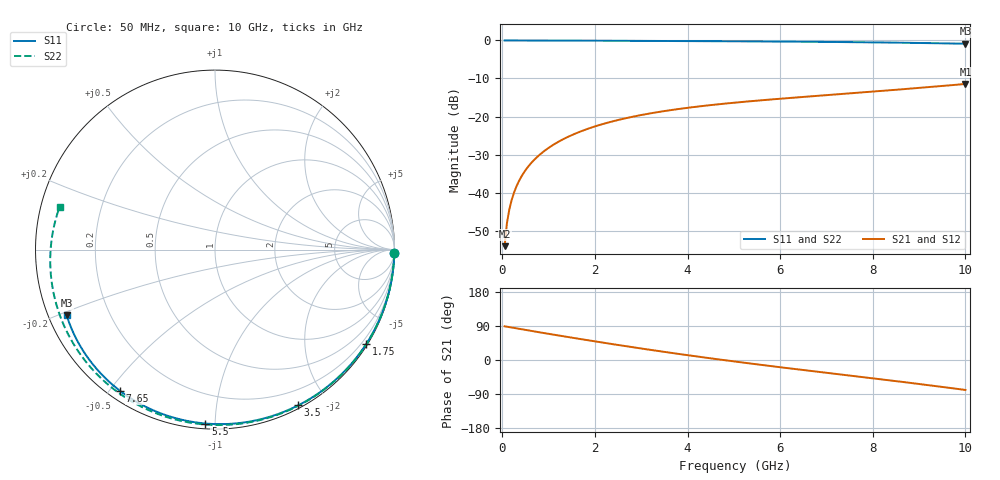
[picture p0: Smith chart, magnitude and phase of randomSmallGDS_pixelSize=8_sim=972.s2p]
! freq	dB(S11)	phase(S11)	dB(S12)	phase(S12)
!  dB(S21)	phase(S21)	dB(S22)	phase(S22)
!S-par simulation data
#  GHz  S  DB  R 50
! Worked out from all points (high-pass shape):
!   200 points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, 50 MHz to 10 GHz, reference 50 ohm
!   highest |S21| = -11.45 dB at 10 GHz (marker M1); lowest = -54.1 dB at 50 MHz (marker M2)
!   |S21| within 3 dB of the highest: 6.938 GHz to end of sweep
!   lowest |S11| = -0.9 dB at 10 GHz (marker M3), VSWR 19.88, Z = 2.63 - j10.6 ohm
!   |S11| at or under -10 dB: nowhere
!   |S22| runs from -0.9 to 0.0 dB; largest |S21 - S12| = 0
!   S11 on the Smith chart (normalised r, x): 50 MHz: open; 1.75 GHz: 0.04, -3.50; 3.5 GHz: 0.03, -1.67; 5.5 GHz: 0.03, -0.95; 7.65 GHz: 0.03, -0.53; 10 GHz: 0.05, -0.21
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0.05  -0.01 -0.9  -54.08 88.9  -54.08 88.9  -0.01 -1.1
0.1  -0.01 -1.9  -48.06 87.9  -48.06 87.9  -0.01 -2.3
0.15  -0.01 -2.8  -44.54 86.8  -44.54 86.8  -0.01 -3.4
0.2  -0.01 -3.7  -42.05 85.7  -42.05 85.7  -0.01 -4.6
0.25  -0.01 -4.6  -40.11 84.7  -40.11 84.7  -0.01 -5.7
0.35  -0.01 -6.5  -37.20 82.6  -37.20 82.6  -0.02 -8.0
0.5  -0.02 -9.2  -34.13 79.4  -34.13 79.4  -0.02 -11.5
0.7  -0.02 -12.9  -31.25 75.2  -31.25 75.2  -0.02 -16.1
1  -0.03 -18.4  -28.24 69.0  -28.24 69.0  -0.03 -22.9
1.35  -0.04 -24.7  -25.75 62.0  -25.75 62.0  -0.05 -30.8
1.75  -0.06 -31.9  -23.65 54.1  -23.65 54.1  -0.07 -39.6
2.6  -0.10 -46.7  -20.63 37.7  -20.63 37.7  -0.11 -57.9
3.4  -0.14 -60.2  -18.76 23.1  -18.76 23.1  -0.15 -74.3
3.5  -0.14 -61.9  -18.57 21.4  -18.57 21.4  -0.16 -76.3
4.25  -0.18 -74.0  -17.34 8.5  -17.34 8.5  -0.20 -90.9
5.05  -0.23 -86.4  -16.32 -4.5  -16.32 -4.5  -0.26 -105.8
5.5  -0.26 -93.1  -15.83 -11.5  -15.83 -11.5  -0.29 -114.0
6.7  -0.36 -110.5  -14.67 -29.4  -14.67 -29.4  -0.40 -135.3
7.65  -0.46 -123.8  -13.79 -43.2  -13.79 -43.2  -0.51 -151.9
8.35  -0.56 -133.4  -13.12 -53.5  -13.12 -53.5  -0.61 -164.3
9.2  -0.70 -145.1  -12.28 -66.4  -12.28 -66.4  -0.76 -180.0
10  -0.87 -156.1  -11.45 -79.1  -11.45 -79.1  -0.94 164.5
